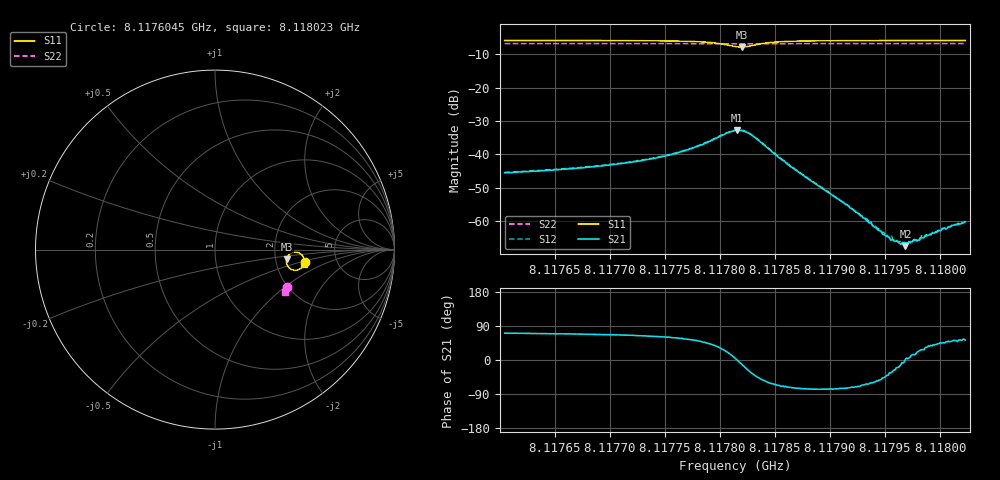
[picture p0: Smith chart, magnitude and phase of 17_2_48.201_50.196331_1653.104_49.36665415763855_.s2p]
#  HZ  S  RI  R  50.00
! Rohde & Schwarz Vector Network Analyzer
! Rohde-Schwarz,ZNB20-2Port,1311601062101988,3.16
! Created: UTC 3/20/2024, 11:36:48 AM
! freq[Hz]  re:S11  im:S11  re:S21  im:S21  re:S12  im:S12  re:S22  im:S22
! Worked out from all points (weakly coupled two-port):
!   401 points, 8.1176045 GHz to 8.118023 GHz, reference 50 ohm
!   highest |S21| = -32.82 dB at 8.1178159 GHz (marker M1); lowest = -67.4 dB at 8.1179686 GHz (marker M2)
!   lowest |S11| = -7.9 dB at 8.11782 GHz (marker M3), VSWR 2.35, Z = 115 - j14.8 ohm
!   |S11| at or under -10 dB: nowhere
!   |S22| runs from -7.0 to -6.9 dB; largest |S21 - S12| = 0.00064
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8.11760452e9  0.5002 -0.0677  0.00176 0.00503  0.00183 0.00506  0.4014 -0.2087
8.11767462e9  0.4977 -0.0773  0.00233 0.00584  0.00244 0.00599  0.3992 -0.2134
8.11771542e9  0.4945 -0.0853  0.00311 0.00685  0.00325 0.00691  0.3977 -0.2162
8.11774472e9  0.4897 -0.0935  0.00428 0.00795  0.00441 0.00805  0.3966 -0.2183
8.11777401e9  0.4771 -0.106  0.00725 0.00976  0.00745 0.00992  0.3949 -0.2203
8.11780017e9  0.4378 -0.1142  0.0158 0.00989  0.0162 0.0101  0.3923 -0.2217
8.11781377e9  0.4013 -0.084  0.0226 0.00186  0.023 0.0018  0.3906 -0.2208
8.11781586e9  0.3984 -0.0745  0.0229 -0.000163  0.0234 -0.000278  0.3905 -0.2203
8.11782005e9  0.3987 -0.0539  0.0221 -0.00468  0.0224 -0.00492  0.3906 -0.2197
8.11782946e9  0.4242 -0.0203  0.0155 -0.0112  0.0158 -0.0115  0.392 -0.2191
8.11785039e9  0.477 -0.0235  0.00429 -0.009  0.00416 -0.00933  0.3937 -0.2211
8.11788387e9  0.4954 -0.0474  0.000901 -0.00381  0.000894 -0.00392  0.3932 -0.2243
8.11791525e9  0.4985 -0.0592  0.000483 -0.0017  0.000512 -0.0017  0.3922 -0.2267
8.11793513e9  0.4991 -0.0645  0.000432 -0.00086  0.00043 -0.000911  0.3915 -0.2281
8.11794036e9  0.4992 -0.0654  0.000432 -0.000707  0.000429 -0.000707  0.3915 -0.2287
8.11795396e9  0.4992 -0.0681  0.000475 -0.00032  0.000458 -0.000322  0.3909 -0.2296
8.1179592e9  0.4993 -0.0692  0.000449 -0.00022  0.000464 -0.000237  0.3907 -0.23
8.11796233e9  0.4993 -0.0698  0.000451 -0.000157  0.000483 -0.000134  0.3907 -0.2302
8.11796861e9  0.4991 -0.0707  0.000425 1.68e-05  0.000477 -6.64e-06  0.3904 -0.2305
8.11798012e9  0.4991 -0.0727  0.00049 0.000201  0.000519 0.000202  0.39 -0.2312
8.11800418e9  0.4988 -0.076  0.000561 0.000557  0.000544 0.000579  0.3891 -0.2328
8.11802302e9  0.4986 -0.0785  0.000597 0.000784  0.000585 0.000814  0.3885 -0.2339
